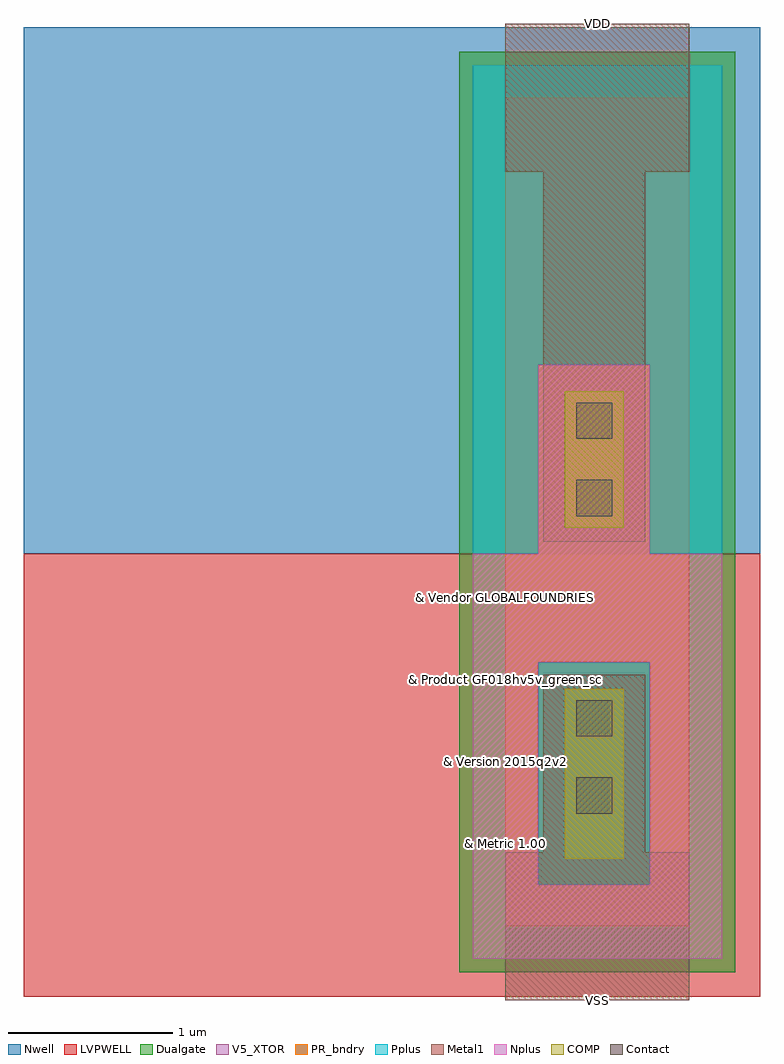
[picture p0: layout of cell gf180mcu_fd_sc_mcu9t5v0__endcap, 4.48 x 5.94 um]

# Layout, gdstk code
import gdstk
lib = gdstk.Library(unit=1e-6, precision=1e-09)
def R(c, l, rs):  # rectangles x0, y0, x1, y1
    for r in rs: c.add(gdstk.rectangle(r[:2], r[2:], *l))
def P(c, l, *ps):  # polygons
    for p in ps: c.add(gdstk.Polygon(p, *l))
PR_bndry = (0, 0)
Nwell = (21, 0)
COMP = (22, 0)
Pplus = (31, 0)
Nplus = (32, 0)
Contact = (33, 0)
Metal1 = (34, 0)
Dualgate = (55, 0)
V5_XTOR = (112, 1)
LVPWELL = (204, 0)

gf180mcu_fd_sc_mcu9t5v0_ = lib.new_cell('gf180mcu_fd_sc_mcu9t5v0__endcap')
R(gf180mcu_fd_sc_mcu9t5v0_, PR_bndry, [(0,0,1.12,5.04)])
R(gf180mcu_fd_sc_mcu9t5v0_, Nwell, [(-2.93,2.265,1.55,5.47)])
R(gf180mcu_fd_sc_mcu9t5v0_, COMP, [(0.36,0.41,0.72,1.445), (0.36,2.425,0.72,3.255)])
R(gf180mcu_fd_sc_mcu9t5v0_, Pplus, [(0.2,0.25,0.88,1.605)])
P(gf180mcu_fd_sc_mcu9t5v0_, Pplus, [(-0.2,2.265),(-0.2,5.24),(1.32,5.24),(1.32,2.265),(0.88,2.265),(0.88,3.415),(0.2,3.415),(0.2,2.265)])
P(gf180mcu_fd_sc_mcu9t5v0_, Nplus, [(-0.2,-0.2),(-0.2,2.265),(0.2,2.265),(0.2,3.415),(0.88,3.415),(0.88,1.605),(0.2,1.605),(0.2,0.25),(0.88,0.25),(0.88,3.415),(0.88,2.265),(1.32,2.265),(1.32,-0.2)])
R(gf180mcu_fd_sc_mcu9t5v0_, Contact, [(0.43,0.685,0.65,0.905), (0.43,1.155,0.65,1.375), (0.43,2.495,0.65,2.715), (0.43,2.965,0.65,3.185)])
P(gf180mcu_fd_sc_mcu9t5v0_, Metal1, [(0,-0.45),(0,0.45),(0.23,0.45),(0.23,1.53),(0.85,1.53),(0.85,0.45),(1.12,0.45),(1.12,-0.45)],
  [(0.23,2.34),(0.23,4.59),(0,4.59),(0,5.49),(1.12,5.49),(1.12,4.59),(0.85,4.59),(0.85,2.34)])
R(gf180mcu_fd_sc_mcu9t5v0_, Dualgate, [(-0.28,-0.28,1.4,5.32)])
R(gf180mcu_fd_sc_mcu9t5v0_, V5_XTOR, [(0,0,1.12,5.04)])
R(gf180mcu_fd_sc_mcu9t5v0_, LVPWELL, [(-2.93,-0.43,1.55,2.265)])
gf180mcu_fd_sc_mcu9t5v0_.add(gdstk.Label('VSS', (0.56,-0.45), layer=34, texttype=10))
gf180mcu_fd_sc_mcu9t5v0_.add(gdstk.Label('VDD', (0.56,5.49), layer=34, texttype=10))
gf180mcu_fd_sc_mcu9t5v0_.add(gdstk.Label('& Vendor GLOBALFOUNDRIES', (0,2), layer=63, texttype=63))
gf180mcu_fd_sc_mcu9t5v0_.add(gdstk.Label('& Product GF018hv5v_green_sc9', (0,1.5), layer=63, texttype=63))
gf180mcu_fd_sc_mcu9t5v0_.add(gdstk.Label('& Version 2015q2v2', (0,1), layer=63, texttype=63))
gf180mcu_fd_sc_mcu9t5v0_.add(gdstk.Label('& Metric 1.00', (0,0.5), layer=63, texttype=63))

lib.write_gds('gf180mcu_fd_sc_mcu9t5v0__endcap.gds')
